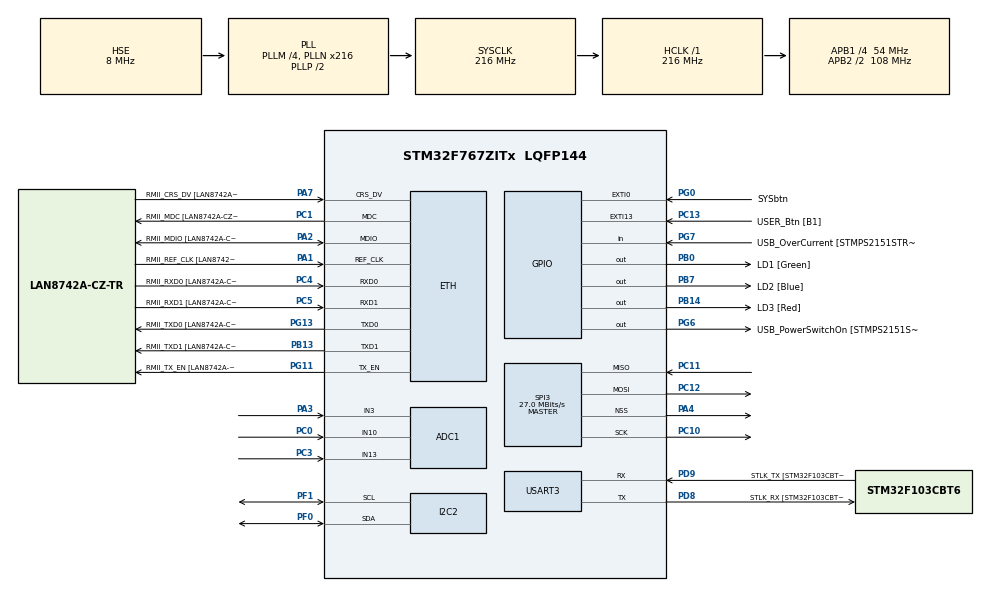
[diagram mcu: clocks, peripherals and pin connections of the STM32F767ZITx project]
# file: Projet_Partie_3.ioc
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ADC1.Channel-2\#ChannelRegularConversion=ADC_CHANNEL_3
ADC1.Channel-3\#ChannelRegularConversion=ADC_CHANNEL_10
ADC1.Channel-4\#ChannelRegularConversion=ADC_CHANNEL_13
ADC1.DMAContinuousRequests=ENABLE
ADC1.EOCSelection=ADC_EOC_SEQ_CONV
ADC1.ExternalTrigConv=ADC_EXTERNALTRIGCONV_T6_TRGO
ADC1.NbrOfConversion=3
ADC1.NbrOfConversionFlag=1
ADC1.Rank-2\#ChannelRegularConversion=1
ADC1.Rank-3\#ChannelRegularConversion=2
ADC1.Rank-4\#ChannelRegularConversion=3
ADC1.SamplingTime-2\#ChannelRegularConversion=ADC_SAMPLETIME_3CYCLES
ADC1.SamplingTime-3\#ChannelRegularConversion=ADC_SAMPLETIME_3CYCLES
ADC1.SamplingTime-4\#ChannelRegularConversion=ADC_SAMPLETIME_3CYCLES
ADC1.master=1
Dma.ADC1.0.Direction=DMA_PERIPH_TO_MEMORY
Dma.ADC1.0.FIFOMode=DMA_FIFOMODE_DISABLE
Dma.ADC1.0.Instance=DMA2_Stream0
Dma.ADC1.0.MemDataAlignment=DMA_MDATAALIGN_HALFWORD
Dma.ADC1.0.MemInc=DMA_MINC_ENABLE
Dma.ADC1.0.Mode=DMA_CIRCULAR
Dma.ADC1.0.PeriphDataAlignment=DMA_PDATAALIGN_HALFWORD
Dma.ADC1.0.PeriphInc=DMA_PINC_DISABLE
Dma.ADC1.0.Priority=DMA_PRIORITY_LOW
Dma.Request0=ADC1
Dma.Request1=USART3_TX
Dma.USART3_TX.1.Direction=DMA_MEMORY_TO_PERIPH
Dma.USART3_TX.1.FIFOMode=DMA_FIFOMODE_DISABLE
Dma.USART3_TX.1.Instance=DMA1_Stream3
Dma.USART3_TX.1.MemDataAlignment=DMA_MDATAALIGN_BYTE
Dma.USART3_TX.1.MemInc=DMA_MINC_ENABLE
Dma.USART3_TX.1.Mode=DMA_NORMAL
Dma.USART3_TX.1.PeriphDataAlignment=DMA_PDATAALIGN_BYTE
Dma.USART3_TX.1.PeriphInc=DMA_PINC_DISABLE
Dma.USART3_TX.1.Priority=DMA_PRIORITY_LOW
ETH.MACAddr=00\:80\:E1\:00\:00\:12
ETH.MediaInterface=HAL_ETH_RMII_MODE
FREERTOS.INCLUDE_uxTaskGetStackHighWaterMark=1
FREERTOS.INCLUDE_uxTaskGetStackHighWaterMark2=0
FREERTOS.INCLUDE_vTaskDelayUntil=1
FREERTOS.Tasks01=defaultTask,0,256,StartDefaultTask,Default,NULL,Dynamic,NULL,NULL
FREERTOS.configMINIMAL_STACK_SIZE=64
FREERTOS.configTOTAL_HEAP_SIZE=262144
FREERTOS.configUSE_NEWLIB_REENTRANT=1
FREERTOS.configUSE_TIMERS=0
I2C2.Timing=0x20404768
LWIP.BSP.number=1
LWIP.GATEWAY_ADDRESS=192.168.001.001
LWIP.IP_ADDRESS=192.168.001.191
LWIP.IP_FORWARD_ALLOW_TX_ON_RX_NETIF=1
LWIP.IP_SOF_BROADCAST=1
LWIP.IP_SOF_BROADCAST_RECV=1
LWIP.LWIP_DHCP=0
LWIP.LWIP_DNS=1
LWIP.LWIP_HAVE_LOOPIF=1
LWIP.LWIP_ICMP=1
LWIP.LWIP_RAW=0
LWIP.LWIP_SINGLE_NETIF=0
LWIP.LWIP_SO_RCVTIMEO=1
LWIP.LWIP_SO_SNDTIMEO=0
LWIP.LWIP_TCPIP_CORE_LOCKING=0
LWIP.MEM_SIZE=16000
LWIP.NETMASK_ADDRESS=255.255.255.000
LWIP.Version=v2.1.2_Cube
LWIP0.BSP.STBoard=false
LWIP0.BSP.api=BSP_COMPONENT_DRIVER
LWIP0.BSP.component=LAN8742
LWIP0.BSP.instance=LAN8742
LWIP0.BSP.name=Driver_PHY
LWIP0.BSP.semaphore=S_LAN8742
LWIP0.BSP.solution=LAN8742
Mcu.Family=STM32F7
Mcu.Name=STM32F767ZITx
Mcu.Package=LQFP144
NVIC.ADC_IRQn=true\:5\:0\:false\:false\:true\:true\:true\:true\:true
NVIC.DMA1_Stream3_IRQn=true\:5\:0\:false\:false\:true\:true\:false\:true\:true
NVIC.DMA2_Stream0_IRQn=true\:5\:0\:false\:false\:true\:true\:false\:true\:true
NVIC.ETH_IRQn=true\:5\:0\:false\:false\:true\:true\:false\:true\:true
NVIC.EXTI0_IRQn=true\:5\:0\:false\:false\:true\:true\:true\:true\:true
NVIC.PriorityGroup=NVIC_PRIORITYGROUP_4
NVIC.TIM1_UP_TIM10_IRQn=true\:15\:0\:false\:false\:true\:false\:false\:true\:true
NVIC.TimeBase=TIM1_UP_TIM10_IRQn
NVIC.TimeBaseIP=TIM1
NVIC.USART3_IRQn=true\:5\:0\:false\:false\:true\:true\:true\:true\:true
PA1.GPIO_Label=RMII_REF_CLK [LAN8742A-CZ-TR_REFCLK0]
PA1.Mode=RMII
PA1.Signal=ETH_REF_CLK
PA10.GPIO_Label=USB_ID
PA10.Signal=USB_OTG_FS_ID
PA11.GPIO_Label=USB_DM
PA11.Signal=USB_OTG_FS_DM
PA12.GPIO_Label=USB_DP
PA12.Signal=USB_OTG_FS_DP
PA13.GPIO_Label=TMS
PA13.Signal=SYS_JTMS-SWDIO
PA14.GPIO_Label=TCK
PA14.Signal=SYS_JTCK-SWCLK
PA2.GPIO_Label=RMII_MDIO [LAN8742A-CZ-TR_MDIO]
PA2.Mode=RMII
PA2.Signal=ETH_MDIO
PA3.Signal=ADCx_IN3
PA4.Mode=NSS_Signal_Hard_Output
PA4.Signal=SPI3_NSS
PA7.GPIO_Label=RMII_CRS_DV [LAN8742A-CZ-TR_CRS_DV]
PA7.Mode=RMII
PA7.Signal=ETH_CRS_DV
PA8.GPIO_Label=USB_SOF [TP1]
PA8.Signal=USB_OTG_FS_SOF
PA9.GPIO_Label=USB_VBUS
PA9.Signal=USB_OTG_FS_VBUS
PB0.GPIO_Label=LD1 [Green]
PB0.Signal=GPIO_Output
PB13.GPIO_Label=RMII_TXD1 [LAN8742A-CZ-TR_TXD1]
PB13.Mode=RMII
PB13.Signal=ETH_TXD1
PB14.GPIO_Label=LD3 [Red]
PB14.Signal=GPIO_Output
PB3.GPIO_Label=SW0
PB3.Signal=SYS_JTDO-SWO
PB7.GPIO_Label=LD2 [Blue]
PB7.Signal=GPIO_Output
PC0.Signal=ADCx_IN10
PC1.GPIO_Label=RMII_MDC [LAN8742A-CZ-TR_MDC]
PC1.Mode=RMII
PC1.Signal=ETH_MDC
PC10.Mode=Full_Duplex_Master
PC10.Signal=SPI3_SCK
PC11.Mode=Full_Duplex_Master
PC11.Signal=SPI3_MISO
PC12.Mode=Full_Duplex_Master
PC12.Signal=SPI3_MOSI
PC13.GPIO_Label=USER_Btn [B1]
PC13.Signal=GPXTI13
PC14/OSC32_IN.Signal=RCC_OSC32_IN
PC15/OSC32_OUT.Signal=RCC_OSC32_OUT
PC3.Signal=ADCx_IN13
PC4.GPIO_Label=RMII_RXD0 [LAN8742A-CZ-TR_RXD0]
PC4.Mode=RMII
PC4.Signal=ETH_RXD0
PC5.GPIO_Label=RMII_RXD1 [LAN8742A-CZ-TR_RXD1]
PC5.Mode=RMII
PC5.Signal=ETH_RXD1
PD8.GPIO_Label=STLK_RX [STM32F103CBT6_PA3]
PD8.Mode=Asynchronous
PD8.Signal=USART3_TX
PD9.GPIO_Label=STLK_TX [STM32F103CBT6_PA2]
PD9.Mode=Asynchronous
PD9.Signal=USART3_RX
PF0.Mode=I2C
PF0.Signal=I2C2_SDA
PF1.Mode=I2C
PF1.Signal=I2C2_SCL
PG0.GPIO_Label=SYSbtn
PG0.GPIO_ModeDefaultEXTI=GPIO_MODE_IT_FALLING
PG0.GPIO_PuPd=GPIO_PULLUP
PG0.Signal=GPXTI0
PG11.GPIO_Label=RMII_TX_EN [LAN8742A-CZ-TR_TXEN]
PG11.Mode=RMII
PG11.Signal=ETH_TX_EN
PG13.GPIO_Label=RMII_TXD0 [LAN8742A-CZ-TR_TXD0]
PG13.Mode=RMII
PG13.Signal=ETH_TXD0
PG6.GPIO_Label=USB_PowerSwitchOn [STMPS2151STR_EN]
PG6.Signal=GPIO_Output
PG7.GPIO_Label=USB_OverCurrent [STMPS2151STR_FAULT]
PG7.Signal=GPIO_Input
PH0/OSC_IN.GPIO_Label=MCO [STM32F103CBT6_PA8]
PH0/OSC_IN.Mode=HSE-External-Clock-Source
PH0/OSC_IN.Signal=RCC_OSC_IN
PH1/OSC_OUT.Mode=HSE-External-Clock-Source
PH1/OSC_OUT.Signal=RCC_OSC_OUT
ProjectManager.HeapSize=0x200
ProjectManager.StackSize=0x400
ProjectManager.TargetToolchain=STM32CubeIDE
RCC.48MHZClocksFreq_Value=24000000
RCC.AHBFreq_Value=216000000
RCC.APB1CLKDivider=RCC_HCLK_DIV4
RCC.APB1Freq_Value=54000000
RCC.APB1TimFreq_Value=108000000
RCC.APB2CLKDivider=RCC_HCLK_DIV2
RCC.APB2Freq_Value=108000000
RCC.APB2TimFreq_Value=216000000
RCC.CortexFreq_Value=216000000
RCC.HCLKFreq_Value=216000000
RCC.HSE_VALUE=8000000
RCC.HSI_VALUE=16000000
RCC.LSE_VALUE=32768
RCC.PLLM=4
RCC.PLLMUL=RCC_PLL_MUL9
RCC.PLLN=216
RCC.PLLSourceVirtual=RCC_PLLSOURCE_HSE
RCC.PRESCALERUSB=RCC_USBCLKSOURCE_PLL_DIV1_5
RCC.SYSCLKFreq_VALUE=216000000
RCC.SYSCLKSource=RCC_SYSCLKSOURCE_PLLCLK
RCC.SYSCLKSourceVirtual=RCC_SYSCLKSOURCE_PLLCLK
RCC.USART3CLockSelection=RCC_USART3CLKSOURCE_HSI
RCC.USBFreq_Value=216000000
RCC.VCOOutputFreq_Value=432000000
SH.ADCx_IN10.0=ADC1_IN10,IN10
SH.ADCx_IN13.0=ADC1_IN13,IN13
SH.ADCx_IN3.0=ADC1_IN3,IN3
SPI3.CalculateBaudRate=27.0 MBits/s
SPI3.Direction=SPI_DIRECTION_2LINES
SPI3.Mode=SPI_MODE_MASTER
SPI3.NSSPMode=SPI_NSS_PULSE_DISABLE
SPI3.VirtualNSS=VM_NSSHARD
SPI3.VirtualType=VM_MASTER
TIM6.Period=10000-1
TIM6.Prescaler=108-1
TIM6.TIM_MasterOutputTrigger=TIM_TRGO_UPDATE
USART3.VirtualMode-Asynchronous=VM_ASYNC
VP_FREERTOS_VS_CMSIS_V1.Mode=CMSIS_V1
VP_LWIP_VS_Enabled.Mode=Enabled
VP_SYS_VS_tim1.Mode=TIM1
VP_TIM6_VS_ClockSourceINT.Mode=Enable_Timer
board=NUCLEO-F767ZI

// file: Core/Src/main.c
/* USER CODE BEGIN Header */
/**
  ******************************************************************************
  * @file           : main.c
  * @brief          : Main program body
  ******************************************************************************
  * @attention
  *
  * Copyright (c) 2025 STMicroelectronics.
  * All rights reserved.
  *
  * This software is licensed under terms that can be found in the LICENSE file
  * in the root directory of this software component.
  * If no LICENSE file comes with this software, it is provided AS-IS.
  *
  ******************************************************************************
  */
/* USER CODE END Header */
#include "main.h"
#include "cmsis_os.h"
#include "lwip.h"

/* USER CODE BEGIN Includes */
#include "app_shared.h"
/* USER CODE END Includes */

ADC_HandleTypeDef hadc1;
DMA_HandleTypeDef hdma_adc1;

I2C_HandleTypeDef hi2c2;

SPI_HandleTypeDef hspi3;

TIM_HandleTypeDef htim6;

UART_HandleTypeDef huart3;
DMA_HandleTypeDef hdma_usart3_tx;

osThreadId defaultTaskHandle;
/* USER CODE BEGIN PV */
osThreadId logMessageTaskHandle;
osThreadId clientTaskHandle;
osThreadId serverTaskHandle;
osThreadId heartBeatTaskHandle;
osThreadId AdcConvertHandle;
osThreadId UDPHeartbeatHandle;
osThreadId linkMonitorTaskHandle;
osThreadId stackMonitorTaskHandle;
osThreadId broadcastListenerTaskHandle;
osThreadId JsonProcessingTaskHandle;
osThreadId NtpSyncTaskHandle;
osThreadId i2cGatekeeperHandle;
osThreadId spiGatekeeperHandle;

osMailQId logMailHandle;
osMailQId msgMailHandle;
osMailQId i2cMailHandle;
osMailQId spiMailHandle;

osMutexId ipConfigMutexHandle;
EventGroupHandle_t sysEventGroup;
/* USER CODE END PV */

void SystemClock_Config(void);
static void MX_GPIO_Init(void);
static void MX_DMA_Init(void);
static void MX_USART3_UART_Init(void);
static void MX_ADC1_Init(void);
static void MX_TIM6_Init(void);
static void MX_I2C2_Init(void);
static void MX_SPI3_Init(void);
void StartDefaultTask(void const * argument);

/* USER CODE BEGIN PFP */
void LogMessageTask(void const* argument);
void StartClientTask(void const* argument);
void StartServerTask(void const* argument);
void StartHeartBeatTask(void const* argument);
void StartAdcConvert(void const* argument);
void StartUDPHeartbeat(void const* argument);
void StartJsonProcessingTask(void const* argument);
void StartLinkMonitorTask(void const* argument);
void StartStackMonitorTask(void const* argument);
void StartBroadcastListenerTask(void const* argument);
void StartNtpSyncTask(void const* argument);
void StartI2cGatekeeperTask(void const* argument);
void StartSpiGatekeeperTask(void const* argument);
/* USER CODE END PFP */

int main(void)
{

  /* MCU Configuration--------------------------------------------------------*/

  /* Reset of all peripherals, Initializes the Flash interface and the Systick. */
  HAL_Init();

  /* Configure the system clock */
  SystemClock_Config();

  /* Initialize all configured peripherals */
  MX_GPIO_Init();
  MX_DMA_Init();
  MX_USART3_UART_Init();
  MX_ADC1_Init();
  MX_TIM6_Init();
  MX_I2C2_Init();
  MX_SPI3_Init();
  /* USER CODE BEGIN 2 */
  sysEventGroup = xEventGroupCreate();
  xEventGroupClearBits(sysEventGroup, SYS_BIT_RUNNING | SYS_BIT_TIME_SYNC);
  /* USER CODE END 2 */

  /* USER CODE BEGIN RTOS_MUTEX */
  osMutexDef(ipConfigMutex);
  ipConfigMutexHandle = osMutexCreate(osMutex(ipConfigMutex));
  /* USER CODE END RTOS_MUTEX */

  /* USER CODE BEGIN RTOS_QUEUES */
  /* Log Mail Queue */
	osMailQDef(logMail, LOG_MAIL_SIZE, logMail_t);
	logMailHandle = osMailCreate(osMailQ(logMail), NULL);
		/* Network messages mail queue */
	osMailQDef(msgMail, MSG_MAIL_SIZE, msgMail_t);
	msgMailHandle = osMailCreate(osMailQ(msgMail), NULL);
		/* I2C Mail Queue */
	osMailQDef(i2cMail, I2C_MAIL_SIZE, i2cMail_t);
	i2cMailHandle = osMailCreate(osMailQ(i2cMail), NULL);

	osMailQDef(spiMail, SPI_MAIL_SIZE, spiMail_t);
	spiMailHandle = osMailCreate(osMailQ(spiMail), NULL);
  /* USER CODE END RTOS_QUEUES */

  /* Create the thread(s) */
  /* definition and creation of defaultTask */
  osThreadDef(defaultTask, StartDefaultTask, osPriorityNormal, 0, 256);
  defaultTaskHandle = osThreadCreate(osThread(defaultTask), NULL);

  /* USER CODE BEGIN RTOS_THREADS */
  osThreadDef(logMessageTask, LogMessageTask, osPriorityNormal, 0, 128);
  logMessageTaskHandle = osThreadCreate(osThread(logMessageTask), NULL);

  osThreadDef(clientTask, StartClientTask, osPriorityBelowNormal, 0, 512);
  clientTaskHandle = osThreadCreate(osThread(clientTask), NULL);

  osThreadDef(serverTask, StartServerTask, osPriorityBelowNormal, 0, 512);
  serverTaskHandle = osThreadCreate(osThread(serverTask), NULL);

  osThreadDef(heartBeatTask, StartHeartBeatTask, osPriorityIdle, 0, 64);
  heartBeatTaskHandle = osThreadCreate(osThread(heartBeatTask), NULL);

  osThreadDef(AdcConvert, StartAdcConvert, osPriorityNormal, 0, 256);
  AdcConvertHandle = osThreadCreate(osThread(AdcConvert), NULL);

  osThreadDef(UDPHeartbeat, StartUDPHeartbeat, osPriorityIdle, 0, 320);
  UDPHeartbeatHandle = osThreadCreate(osThread(UDPHeartbeat), NULL);

  osThreadDef(stackMonitorTask, StartStackMonitorTask, osPriorityLow, 0, 256);
  stackMonitorTaskHandle = osThreadCreate(osThread(stackMonitorTask), NULL);

  osThreadDef(linkMonitorTask, StartLinkMonitorTask, osPriorityLow, 0, 192);
  linkMonitorTaskHandle = osThreadCreate(osThread(linkMonitorTask), NULL);

  osThreadDef(broadcastListenerTask, StartBroadcastListenerTask, osPriorityBelowNormal, 0, 512);
  broadcastListenerTaskHandle = osThreadCreate(osThread(broadcastListenerTask), NULL);

  osThreadDef(JsonProcessingTask, StartJsonProcessingTask, osPriorityBelowNormal, 0, 256);
  JsonProcessingTaskHandle = osThreadCreate(osThread(JsonProcessingTask), NULL);

  osThreadDef(NtpSyncTask, StartNtpSyncTask, osPriorityNormal, 0, 512);
  NtpSyncTaskHandle = osThreadCreate(osThread(NtpSyncTask), NULL);
  osThreadSuspend(NtpSyncTaskHandle);

  osThreadDef(i2cGatekeeperTask, StartI2cGatekeeperTask, osPriorityNormal, 0, 256);
  i2cGatekeeperHandle = osThreadCreate(osThread(i2cGatekeeperTask), NULL);

  osThreadDef(spiGatekeeperTask, StartSpiGatekeeperTask, osPriorityNormal, 0, 256);
  spiGatekeeperHandle = osThreadCreate(osThread(spiGatekeeperTask), NULL);
  /* USER CODE END RTOS_THREADS */

  /* Start scheduler */
  osKernelStart();

  /* We should never get here as control is now taken by the scheduler */

  /* Infinite loop */
  while (1)
  {

  }
}

void SystemClock_Config(void)
{
  RCC_OscInitTypeDef RCC_OscInitStruct = {0};
  RCC_ClkInitTypeDef RCC_ClkInitStruct = {0};

  /** Configure the main internal regulator output voltage
  */
  __HAL_RCC_PWR_CLK_ENABLE();
  __HAL_PWR_VOLTAGESCALING_CONFIG(PWR_REGULATOR_VOLTAGE_SCALE1);

  /** Initializes the RCC Oscillators according to the specified parameters
  * in the RCC_OscInitTypeDef structure.
  */
  RCC_OscInitStruct.OscillatorType = RCC_OSCILLATORTYPE_HSI|RCC_OSCILLATORTYPE_HSE;
  RCC_OscInitStruct.HSEState = RCC_HSE_BYPASS;
  RCC_OscInitStruct.HSIState = RCC_HSI_ON;
  RCC_OscInitStruct.HSICalibrationValue = RCC_HSICALIBRATION_DEFAULT;
  RCC_OscInitStruct.PLL.PLLState = RCC_PLL_ON;
  RCC_OscInitStruct.PLL.PLLSource = RCC_PLLSOURCE_HSE;
  RCC_OscInitStruct.PLL.PLLM = 4;
  RCC_OscInitStruct.PLL.PLLN = 216;
  RCC_OscInitStruct.PLL.PLLP = RCC_PLLP_DIV2;
  RCC_OscInitStruct.PLL.PLLQ = 2;
  RCC_OscInitStruct.PLL.PLLR = 2;
  if (HAL_RCC_OscConfig(&RCC_OscInitStruct) != HAL_OK)
  {
    Error_Handler();
  }

  /** Activate the Over-Drive mode
  */
  if (HAL_PWREx_EnableOverDrive() != HAL_OK)
  {
    Error_Handler();
  }

  /** Initializes the CPU, AHB and APB buses clocks
  */
  RCC_ClkInitStruct.ClockType = RCC_CLOCKTYPE_HCLK|RCC_CLOCKTYPE_SYSCLK
                              |RCC_CLOCKTYPE_PCLK1|RCC_CLOCKTYPE_PCLK2;
  RCC_ClkInitStruct.SYSCLKSource = RCC_SYSCLKSOURCE_PLLCLK;
  RCC_ClkInitStruct.AHBCLKDivider = RCC_SYSCLK_DIV1;
  RCC_ClkInitStruct.APB1CLKDivider = RCC_HCLK_DIV4;
  RCC_ClkInitStruct.APB2CLKDivider = RCC_HCLK_DIV2;

  if (HAL_RCC_ClockConfig(&RCC_ClkInitStruct, FLASH_LATENCY_7) != HAL_OK)
  {
    Error_Handler();
  }
}

static void MX_ADC1_Init(void)
{

  ADC_ChannelConfTypeDef sConfig = {0};

  /** Configure the global features of the ADC (Clock, Resolution, Data Alignment and number of conversion)
  */
  hadc1.Instance = ADC1;
  hadc1.Init.ClockPrescaler = ADC_CLOCK_SYNC_PCLK_DIV4;
  hadc1.Init.Resolution = ADC_RESOLUTION_12B;
  hadc1.Init.ScanConvMode = ADC_SCAN_ENABLE;
  hadc1.Init.ContinuousConvMode = DISABLE;
  hadc1.Init.DiscontinuousConvMode = DISABLE;
  hadc1.Init.ExternalTrigConvEdge = ADC_EXTERNALTRIGCONVEDGE_RISING;
  hadc1.Init.ExternalTrigConv = ADC_EXTERNALTRIGCONV_T6_TRGO;
  hadc1.Init.DataAlign = ADC_DATAALIGN_RIGHT;
  hadc1.Init.NbrOfConversion = 3;
  hadc1.Init.DMAContinuousRequests = ENABLE;
  hadc1.Init.EOCSelection = ADC_EOC_SEQ_CONV;
  if (HAL_ADC_Init(&hadc1) != HAL_OK)
  {
    Error_Handler();
  }

  /** Configure for the selected ADC regular channel its corresponding rank in the sequencer and its sample time.
  */
  sConfig.Channel = ADC_CHANNEL_3;
  sConfig.Rank = ADC_REGULAR_RANK_1;
  sConfig.SamplingTime = ADC_SAMPLETIME_3CYCLES;
  if (HAL_ADC_ConfigChannel(&hadc1, &sConfig) != HAL_OK)
  {
    Error_Handler();
  }

  /** Configure for the selected ADC regular channel its corresponding rank in the sequencer and its sample time.
  */
  sConfig.Channel = ADC_CHANNEL_10;
  sConfig.Rank = ADC_REGULAR_RANK_2;
  if (HAL_ADC_ConfigChannel(&hadc1, &sConfig) != HAL_OK)
  {
    Error_Handler();
  }

  /** Configure for the selected ADC regular channel its corresponding rank in the sequencer and its sample time.
  */
  sConfig.Channel = ADC_CHANNEL_13;
  sConfig.Rank = ADC_REGULAR_RANK_3;
  if (HAL_ADC_ConfigChannel(&hadc1, &sConfig) != HAL_OK)
  {
    Error_Handler();
  }

}

static void MX_I2C2_Init(void)
{

  hi2c2.Instance = I2C2;
  hi2c2.Init.Timing = 0x20404768;
  hi2c2.Init.OwnAddress1 = 0;
  hi2c2.Init.AddressingMode = I2C_ADDRESSINGMODE_7BIT;
  hi2c2.Init.DualAddressMode = I2C_DUALADDRESS_DISABLE;
  hi2c2.Init.OwnAddress2 = 0;
  hi2c2.Init.OwnAddress2Masks = I2C_OA2_NOMASK;
  hi2c2.Init.GeneralCallMode = I2C_GENERALCALL_DISABLE;
  hi2c2.Init.NoStretchMode = I2C_NOSTRETCH_DISABLE;
  if (HAL_I2C_Init(&hi2c2) != HAL_OK)
  {
    Error_Handler();
  }

  /** Configure Analogue filter
  */
  if (HAL_I2CEx_ConfigAnalogFilter(&hi2c2, I2C_ANALOGFILTER_ENABLE) != HAL_OK)
  {
    Error_Handler();
  }

  /** Configure Digital filter
  */
  if (HAL_I2CEx_ConfigDigitalFilter(&hi2c2, 0) != HAL_OK)
  {
    Error_Handler();
  }

}

static void MX_SPI3_Init(void)
{

  /* SPI3 parameter configuration*/
  hspi3.Instance = SPI3;
  hspi3.Init.Mode = SPI_MODE_MASTER;
  hspi3.Init.Direction = SPI_DIRECTION_2LINES;
  hspi3.Init.DataSize = SPI_DATASIZE_4BIT;
  hspi3.Init.CLKPolarity = SPI_POLARITY_LOW;
  hspi3.Init.CLKPhase = SPI_PHASE_1EDGE;
  hspi3.Init.NSS = SPI_NSS_HARD_OUTPUT;
  hspi3.Init.BaudRatePrescaler = SPI_BAUDRATEPRESCALER_2;
  hspi3.Init.FirstBit = SPI_FIRSTBIT_MSB;
  hspi3.Init.TIMode = SPI_TIMODE_DISABLE;
  hspi3.Init.CRCCalculation = SPI_CRCCALCULATION_DISABLE;
  hspi3.Init.CRCPolynomial = 7;
  hspi3.Init.CRCLength = SPI_CRC_LENGTH_DATASIZE;
  hspi3.Init.NSSPMode = SPI_NSS_PULSE_DISABLE;
  if (HAL_SPI_Init(&hspi3) != HAL_OK)
  {
    Error_Handler();
  }

}

static void MX_TIM6_Init(void)
{

  TIM_MasterConfigTypeDef sMasterConfig = {0};

  htim6.Instance = TIM6;
  htim6.Init.Prescaler = 108-1;
  htim6.Init.CounterMode = TIM_COUNTERMODE_UP;
  htim6.Init.Period = 10000-1;
  htim6.Init.AutoReloadPreload = TIM_AUTORELOAD_PRELOAD_DISABLE;
  if (HAL_TIM_Base_Init(&htim6) != HAL_OK)
  {
    Error_Handler();
  }
  sMasterConfig.MasterOutputTrigger = TIM_TRGO_UPDATE;
  sMasterConfig.MasterSlaveMode = TIM_MASTERSLAVEMODE_DISABLE;
  if (HAL_TIMEx_MasterConfigSynchronization(&htim6, &sMasterConfig) != HAL_OK)
  {
    Error_Handler();
  }

}

static void MX_USART3_UART_Init(void)
{

  huart3.Instance = USART3;
  huart3.Init.BaudRate = 115200;
  huart3.Init.WordLength = UART_WORDLENGTH_8B;
  huart3.Init.StopBits = UART_STOPBITS_1;
  huart3.Init.Parity = UART_PARITY_NONE;
  huart3.Init.Mode = UART_MODE_TX_RX;
  huart3.Init.HwFlowCtl = UART_HWCONTROL_NONE;
  huart3.Init.OverSampling = UART_OVERSAMPLING_16;
  huart3.Init.OneBitSampling = UART_ONE_BIT_SAMPLE_DISABLE;
  huart3.AdvancedInit.AdvFeatureInit = UART_ADVFEATURE_NO_INIT;
  if (HAL_UART_Init(&huart3) != HAL_OK)
  {
    Error_Handler();
  }

}

static void MX_DMA_Init(void)
{

  /* DMA controller clock enable */
  __HAL_RCC_DMA2_CLK_ENABLE();
  __HAL_RCC_DMA1_CLK_ENABLE();

  /* DMA interrupt init */
  /* DMA1_Stream3_IRQn interrupt configuration */
  HAL_NVIC_SetPriority(DMA1_Stream3_IRQn, 5, 0);
  HAL_NVIC_EnableIRQ(DMA1_Stream3_IRQn);
  /* DMA2_Stream0_IRQn interrupt configuration */
  HAL_NVIC_SetPriority(DMA2_Stream0_IRQn, 5, 0);
  HAL_NVIC_EnableIRQ(DMA2_Stream0_IRQn);

}

static void MX_GPIO_Init(void)
{
  GPIO_InitTypeDef GPIO_InitStruct = {0};

  /* GPIO Ports Clock Enable */
  __HAL_RCC_GPIOC_CLK_ENABLE();
  __HAL_RCC_GPIOF_CLK_ENABLE();
  __HAL_RCC_GPIOH_CLK_ENABLE();
  __HAL_RCC_GPIOA_CLK_ENABLE();
  __HAL_RCC_GPIOB_CLK_ENABLE();
  __HAL_RCC_GPIOG_CLK_ENABLE();
  __HAL_RCC_GPIOD_CLK_ENABLE();

  /*Configure GPIO pin Output Level */
  HAL_GPIO_WritePin(GPIOB, LD1_Pin|LD3_Pin|LD2_Pin, GPIO_PIN_RESET);

  /*Configure GPIO pin Output Level */
  HAL_GPIO_WritePin(USB_PowerSwitchOn_GPIO_Port, USB_PowerSwitchOn_Pin, GPIO_PIN_RESET);

  /*Configure GPIO pin : USER_Btn_Pin */
  GPIO_InitStruct.Pin = USER_Btn_Pin;
  GPIO_InitStruct.Mode = GPIO_MODE_IT_RISING;
  GPIO_InitStruct.Pull = GPIO_NOPULL;
  HAL_GPIO_Init(USER_Btn_GPIO_Port, &GPIO_InitStruct);

  /*Configure GPIO pins : LD1_Pin LD3_Pin LD2_Pin */
  GPIO_InitStruct.Pin = LD1_Pin|LD3_Pin|LD2_Pin;
  GPIO_InitStruct.Mode = GPIO_MODE_OUTPUT_PP;
  GPIO_InitStruct.Pull = GPIO_NOPULL;
  GPIO_InitStruct.Speed = GPIO_SPEED_FREQ_LOW;
  HAL_GPIO_Init(GPIOB, &GPIO_InitStruct);

  /*Configure GPIO pin : SYSbtn_Pin */
  GPIO_InitStruct.Pin = SYSbtn_Pin;
  GPIO_InitStruct.Mode = GPIO_MODE_IT_FALLING;
  GPIO_InitStruct.Pull = GPIO_PULLUP;
  HAL_GPIO_Init(SYSbtn_GPIO_Port, &GPIO_InitStruct);

  /*Configure GPIO pin : USB_PowerSwitchOn_Pin */
  GPIO_InitStruct.Pin = USB_PowerSwitchOn_Pin;
  GPIO_InitStruct.Mode = GPIO_MODE_OUTPUT_PP;
  GPIO_InitStruct.Pull = GPIO_NOPULL;
  GPIO_InitStruct.Speed = GPIO_SPEED_FREQ_LOW;
  HAL_GPIO_Init(USB_PowerSwitchOn_GPIO_Port, &GPIO_InitStruct);

  /*Configure GPIO pin : USB_OverCurrent_Pin */
  GPIO_InitStruct.Pin = USB_OverCurrent_Pin;
  GPIO_InitStruct.Mode = GPIO_MODE_INPUT;
  GPIO_InitStruct.Pull = GPIO_NOPULL;
  HAL_GPIO_Init(USB_OverCurrent_GPIO_Port, &GPIO_InitStruct);

  /*Configure GPIO pins : USB_SOF_Pin USB_ID_Pin USB_DM_Pin USB_DP_Pin */
  GPIO_InitStruct.Pin = USB_SOF_Pin|USB_ID_Pin|USB_DM_Pin|USB_DP_Pin;
  GPIO_InitStruct.Mode = GPIO_MODE_AF_PP;
  GPIO_InitStruct.Pull = GPIO_NOPULL;
  GPIO_InitStruct.Speed = GPIO_SPEED_FREQ_VERY_HIGH;
  GPIO_InitStruct.Alternate = GPIO_AF10_OTG_FS;
  HAL_GPIO_Init(GPIOA, &GPIO_InitStruct);

  /*Configure GPIO pin : USB_VBUS_Pin */
  GPIO_InitStruct.Pin = USB_VBUS_Pin;
  GPIO_InitStruct.Mode = GPIO_MODE_INPUT;
  GPIO_InitStruct.Pull = GPIO_NOPULL;
  HAL_GPIO_Init(USB_VBUS_GPIO_Port, &GPIO_InitStruct);

  /* EXTI interrupt init*/
  HAL_NVIC_SetPriority(EXTI0_IRQn, 5, 0);
  HAL_NVIC_EnableIRQ(EXTI0_IRQn);

}

void StartDefaultTask(void const * argument)
{
  /* init code for LWIP */
  MX_LWIP_Init();
  /* USER CODE BEGIN 5 */
  appLog("[SYS] LWIP initialized\r\n");
  osThreadResume(NtpSyncTaskHandle);
  {
  	const uint8_t TOTAL_SAMPLES = ADC_CHANNELS * SAMPLES_PER_CHANNEL;
  	HAL_ADC_Start_DMA(&hadc1, (uint32_t*)adcBuffer, TOTAL_SAMPLES);
  }
  appLog("[SYS] Data acquisition enabled\r\n");

  while(1){
  	if(osSignalWait(SYS_BTN_SIGNAL, osWaitForever).status == osEventSignal){
  		EventBits_t currentBits = xEventGroupGetBits(sysEventGroup);

  		if(currentBits & SYS_BIT_RUNNING){
  			xEventGroupClearBits(sysEventGroup, SYS_BIT_RUNNING);
  			HAL_TIM_Base_Stop(&htim6);
  			HAL_GPIO_WritePin(GPIOB, LD1_Pin | LD2_Pin | LD3_Pin, GPIO_PIN_RESET);
  			appLog("[SYS] User Pause Request\r\n");
  				/* clear peer list */
  			osMutexWait(ipConfigMutexHandle, osWaitForever);
  			ip_count = 0;
  			memset(peerList, 0, sizeof(peerList));
  			osMutexRelease(ipConfigMutexHandle);
  			appLog("[SYS] Peer list flushed\r\n");	}
  		else{
  			xEventGroupSetBits(sysEventGroup, SYS_BIT_RUNNING);
  			HAL_TIM_Base_Start(&htim6);
  			appLog("[SYS] User Resume Request\r\n"); 	}
  		}
  	}
  /* USER CODE END 5 */
}

void HAL_TIM_PeriodElapsedCallback(TIM_HandleTypeDef *htim)
{
  if (htim->Instance == TIM1)
  {
    HAL_IncTick();
  }
}

void Error_Handler(void)
{
  __disable_irq();
  while (1)
  {
  }
}
